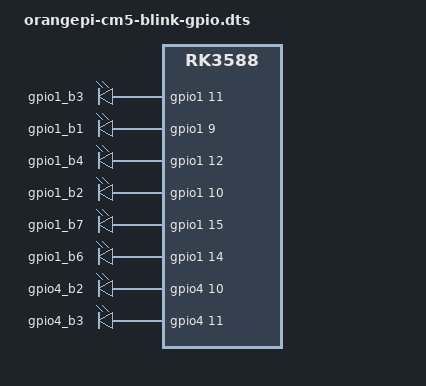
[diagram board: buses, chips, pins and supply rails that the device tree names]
/dts-v1/;
/plugin/;

/ {
	compatible = "rockchip,rk3588s-orangepi-cm5", "rockchip,rk3588";

	fragment@0 {
		target = <&leds>;

		__overlay__ {
			status = "okay";

			gpio1_b3@0 {
				gpios = <&gpio1 11 0>;
				label = "gpio1_b3";
				linux,default-trigger = "heartbeat";
				linux,default-trigger-delay-ms = <0>;
			};

			gpio1_b1@1 {
				gpios = <&gpio1 9 0>;
				label = "gpio1_b1";
				linux,default-trigger = "heartbeat";
				linux,default-trigger-delay-ms = <0>;
			};

			gpio1_b4@2 {
				gpios = <&gpio1 12 0>;
				label = "gpio1_b4";
				linux,default-trigger = "heartbeat";
				linux,default-trigger-delay-ms = <0>;
			};

			gpio1_b2@3 {
				gpios = <&gpio1 10 0>;
				label = "gpio1_b2";
				linux,default-trigger = "heartbeat";
				linux,default-trigger-delay-ms = <0>;
			};

			gpio1_b7@4 {
				gpios = <&gpio1 15 0>;
				label = "gpio1_b7";
				linux,default-trigger = "heartbeat";
				linux,default-trigger-delay-ms = <0>;
			};

			gpio1_b6@5 {
				gpios = <&gpio1 14 0>;
				label = "gpio1_b6";
				linux,default-trigger = "heartbeat";
				linux,default-trigger-delay-ms = <0>;
			};

			gpio4_b2@6 {
				gpios = <&gpio4 10 0>;
				label = "gpio4_b2";
				linux,default-trigger = "heartbeat";
				linux,default-trigger-delay-ms = <0>;
			};

			gpio4_b3@7 {
				gpios = <&gpio4 11 0>;
				label = "gpio4_b3";
				linux,default-trigger = "heartbeat";
				linux,default-trigger-delay-ms = <0>;
			};
		};
	};
};
